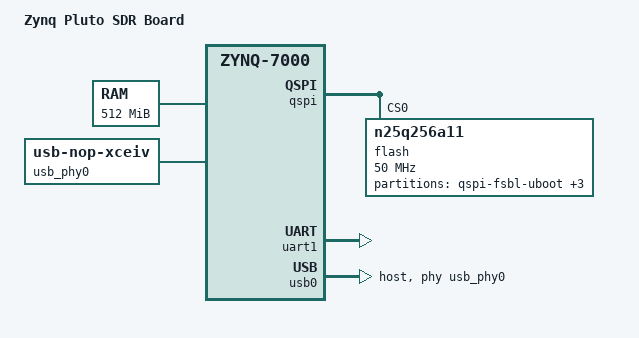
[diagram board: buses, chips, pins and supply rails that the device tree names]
/*
 * Analog Devices Inc. Pluto SDR board DTS
 *
 * Copyright (C) 2015-2018 Analog Devices Inc.
 *
 * SPDX-License-Identifier:	GPL-2.0+
 */
/dts-v1/;
#include "zynq-7000.dtsi"

/ {
	model = "Zynq Pluto SDR Board";
	compatible = "xlnx,zynq-7000";

	aliases {
		ethernet0 = &gem0;
		serial0 = &uart1;
		spi0 = &qspi;
	};

	memory {
		device_type = "memory";
		reg = <0x0 0x20000000>;
	};

	chosen {
		bootargs = "earlyprintk";
		linux,stdout-path = &uart1;
		stdout-path = &uart1;
	};

	usb_phy0: phy0 {
		compatible = "usb-nop-xceiv";
		#phy-cells = <0>;
	};
};

&qspi {
	status = "okay";
	is-dual = <0>;
	num-cs = <1>;
	flash@0 {
		compatible = "n25q256a11,";
		reg = <0x0>;
		spi-tx-bus-width = <1>;
		spi-rx-bus-width = <4>;
		spi-max-frequency = <50000000>;
		#address-cells = <1>;
		#size-cells = <1>;
		partition@qspi-fsbl-uboot {
			label = "qspi-fsbl-uboot";
			reg = <0x0 0x100000>; /* 1M */
		};
		partition@qspi-uboot-env {
			label = "qspi-uboot-env";
			reg = <0x100000 0x20000>; /* 128k */
		};
		partition@qspi-nvmfs {
			label = "qspi-nvmfs";
			reg = <0x120000 0xE0000>; /* 1M */
		};
		partition@qspi-linux {
			label = "qspi-linux";
			reg = <0x200000 0x1E00000>; /* 30M */
		};
	};
};

&uart1 {
	status = "okay";
};

&usb0 {
	status = "okay";
	dr_mode = "host";
	usb-phy = <&usb_phy0>;
};
